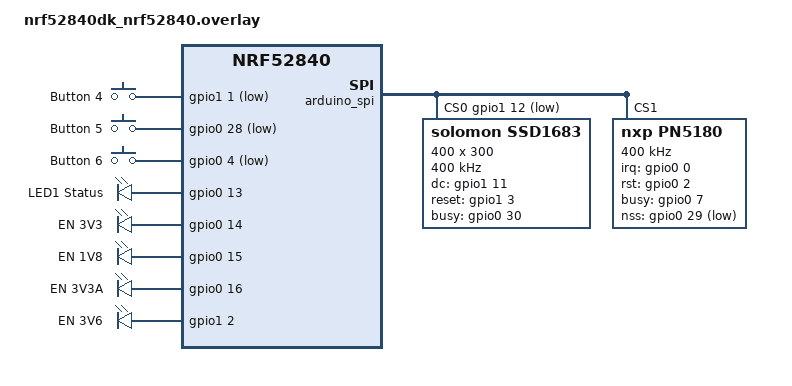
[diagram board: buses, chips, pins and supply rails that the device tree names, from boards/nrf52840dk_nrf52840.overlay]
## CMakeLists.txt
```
# SPDX-License-Identifier: Apache-2.0

cmake_minimum_required(VERSION 3.20.0)

# Add the PN5180 driver module before finding Zephyr
list(APPEND EXTRA_ZEPHYR_MODULES ${CMAKE_CURRENT_SOURCE_DIR}/pn5180)

# Add the SSD1683 e-paper display driver module
list(APPEND EXTRA_ZEPHYR_MODULES ${CMAKE_CURRENT_SOURCE_DIR}/ssd1683)

find_package(Zephyr REQUIRED HINTS $ENV{ZEPHYR_BASE})
project(demo)

# Add all the C files you want built for the app here.
# Keep source files in src/ and list them below.
target_sources(app PRIVATE
    src/main.c
    src/buttons.c
    src/buttons.h
    src/leds.c
    src/leds.h
    src/power_ctrl.c
    src/power_ctrl.h
    assets/fonts/roboto_20.c
    assets/fonts/roboto_28.c
    assets/fonts/roboto_bold_42.c
    assets/fonts/roboto_semibold_25.c
)
```

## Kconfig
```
# Copyright (c) 2023 Nordic Semiconductor ASA
# SPDX-License-Identifier: Apache-2.0

source "Kconfig.zephyr"

mainmenu "LVGL Sample"

config RESET_COUNTER_SW0
	bool "Reset counter when sw0 is pressed"
	depends on $(dt_alias_enabled,sw0)
	select GPIO
	default y
```

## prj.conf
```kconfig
# Basic Configuration
CONFIG_MAIN_STACK_SIZE=4096

# SPI Configuration
CONFIG_SPI=y

# GPIO Configuration
CONFIG_GPIO=y

# Logging
CONFIG_LOG=y
CONFIG_SHELL=n
CONFIG_LOG_DEFAULT_LEVEL=3

# Enable button for testing
CONFIG_RESET_COUNTER_SW0=y
CONFIG_GPIO=y

CONFIG_SPI=y
CONFIG_SPI_ASYNC=y

CONFIG_SPI_SLAVE=y

# PN5180 NFC Driver Configuration
CONFIG_PN5180=y
CONFIG_PN5180_LOG_LEVEL=3
CONFIG_PN5180_INIT_PRIORITY=80

# Threading support for NFC
CONFIG_MULTITHREADING=y


# Stack Sizes (increased for stability)
CONFIG_MAIN_STACK_SIZE=32768
CONFIG_SYSTEM_WORKQUEUE_STACK_SIZE=32768

# System
CONFIG_REBOOT=y
CONFIG_SPI=y

# GPIO
CONFIG_GPIO=y

# NFC PN5180
CONFIG_PN5180=y
# CONFIG_PN5180_LOG_LEVEL=4
# CONFIG_PN5180_INIT_PRIORITY=50

# Display - SSD1683 E-Paper
CONFIG_DISPLAY=y
CONFIG_SSD1683=y
CONFIG_SSD1683_LOG_LEVEL=4
# CONFIG_SSD1683_INIT_PRIORITY=90

# LVGL Graphics Library
CONFIG_LVGL=y
CONFIG_LV_Z_MEM_POOL_SIZE=32768

# LVGL Widgets
CONFIG_LV_USE_LABEL=y
CONFIG_LV_LABEL_TEXT_SELECTION=y
CONFIG_LV_LABEL_LONG_TXT_HINT=y
CONFIG_LV_USE_LINE=y

# RTOS
CONFIG_MULTITHREADING=y
CONFIG_THREAD_STACK_INFO=y
CONFIG_INIT_STACKS=y
CONFIG_STACK_CANARIES=y

# Memory Protection
CONFIG_MPU=y
CONFIG_ARM_MPU=y
CONFIG_MPU_STACK_GUARD=y
CONFIG_MPU_ALLOW_FLASH_WRITE=y

# Memory Management
CONFIG_HEAP_MEM_POOL_SIZE=8192
```

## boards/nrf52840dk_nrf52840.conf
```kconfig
# Copyright (c) 2024
# SPDX-License-Identifier: Apache-2.0

# Enable SPI driver
CONFIG_SPI=y

# Enable GPIO for display control pins
CONFIG_GPIO=y
```

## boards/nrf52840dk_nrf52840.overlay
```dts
/* Arduino SPI configuration for EPD and NFC sharing */
&arduino_spi {
	status = "okay";
	cs-gpios = <&gpio1 12 GPIO_ACTIVE_LOW>; /* EPD CS */

	
	ssd1683: ssd1683@0 {
		compatible = "solomon,ssd1683";
		reg = <0>;
		spi-max-frequency = <400000>;
		/* Display dimensions */
		width = <400>;
		height = <300>;
		/* Control GPIOs */
		dc-gpios = <&gpio1 11 GPIO_ACTIVE_HIGH>;
		reset-gpios = <&gpio1 3 GPIO_ACTIVE_HIGH>;
		busy-gpios = <&gpio0 30 GPIO_ACTIVE_HIGH>;

	};
	
	/* PN5180 NFC device on arduino_spi */
	pn5180: pn5180@1 {
		compatible = "nxp,pn5180";
		reg = <1>;
		spi-max-frequency = <400000>;
		irq-gpios = <&gpio0 0 GPIO_ACTIVE_HIGH>;
		rst-gpios = <&gpio0 2 GPIO_ACTIVE_HIGH>;
		busy-gpios = <&gpio0 7 GPIO_ACTIVE_HIGH>;
		nss-gpios = <&gpio0 29 GPIO_ACTIVE_LOW>;
		timeout-ms = <5000>;
	};
};



// By default uart1 will occupy P1.01 and P1.02. In order to make these pins available, disable uart1
&uart1 {
	status="disabled";
};

&uart0 {
	status="disabled";
};

&spi1 {
	status="disabled";
};

&pwm0 {
	status="disabled";
};

/ {
	aliases {
		sw0 = &button0;
		sw1 = &button1;
		sw2 = &button2;
		sw3 = &button3;
		sw4 = &button4;
		sw5 = &button5;
		sw6 = &button6;
		led0 = &led1;
	};

    buttons {
        compatible = "gpio-keys";

        button4: button_4 {
            label = "Button 4";
            gpios = <&gpio1 1 (GPIO_ACTIVE_LOW | GPIO_PULL_UP)>;
        };

        button5: button_5 {
            label = "Button 5";
            gpios = <&gpio0 28 (GPIO_ACTIVE_LOW | GPIO_PULL_UP)>;
        };

        button6: button_6 {
            label = "Button 6";
            gpios = <&gpio0 4 (GPIO_ACTIVE_LOW | GPIO_PULL_UP)>;
        };
    };

	leds {
		compatible = "gpio-leds";

		led1: led_1 {
			gpios = <&gpio0 13 GPIO_ACTIVE_HIGH>;
			label = "LED1 Status";
		};
	};

	enables {
		compatible = "gpio-leds";

		en3v3: en3v3 {
			gpios = <&gpio0 14 GPIO_ACTIVE_HIGH>;
			label = "EN 3V3";
		};

		en1v8: en1v8 {
			gpios = <&gpio0 15 GPIO_ACTIVE_HIGH>;
			label = "EN 1V8";
		};

		en3v3a: en3v3a {
			gpios = <&gpio0 16 GPIO_ACTIVE_HIGH>;
			label = "EN 3V3A";
		};

		en3v6: en3v6 {
			gpios = <&gpio1 2 GPIO_ACTIVE_HIGH>;
			label = "EN 3V6";
		};
	};
};

/ {
	chosen {
		zephyr,display = &ssd1683;
	};
};
```

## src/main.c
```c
#define ENABLE_NFC

#include <lvgl.h>
#include <zephyr/drivers/display.h>
#include <zephyr/drivers/gpio.h>
#include <zephyr/drivers/spi.h>
#include <zephyr/kernel.h>
#include <zephyr/logging/log.h>
#include <zephyr/sys/printk.h>
#include <zephyr/sys/util.h>

#include "buttons.h"
#include "leds.h"
#include "power_ctrl.h"
#ifdef ENABLE_NFC
#include "pn5180.h"
#endif

/* Custom fonts */
LV_FONT_DECLARE(roboto_20);
LV_FONT_DECLARE(roboto_semibold_25);
LV_FONT_DECLARE(roboto_28);
LV_FONT_DECLARE(roboto_bold_42);

LOG_MODULE_REGISTER(main, LOG_LEVEL_INF);

#ifdef ENABLE_NFC
/* Thread stack sizes */
#define NFC_THREAD_STACK_SIZE 2048

/* Message queue sizes */
#define NFC_QUEUE_SIZE 10
#endif

/* UI Configuration */
#define UI_NUM_BUTTONS 6
#define UI_CIRCLE_SIZE 32
#define UI_CIRCLE_SPACING 20
#define UI_CIRCLE_Y 70
#define UI_INACTIVITY_TIMEOUT_MS (0.5 * 60 * 1000) // 3 minutes

/* System states */
enum system_state { SYSTEM_IDLE, SYSTEM_NFC_SCANNING };

#define STATUS_LED_ID 0

#ifdef ENABLE_NFC
/* Message structures */
struct nfc_event {
  enum { NFC_EVENT_TAG_DETECTED, NFC_EVENT_NO_TAG, NFC_EVENT_ERROR } type;
  uint8_t uid[8];
  uint32_t timestamp;
};

/* Device tree definitions */
#define PN5180_DEVICE DT_NODELABEL(pn5180)
#endif
#define DISPLAY_NODE DT_CHOSEN(zephyr_display)

/* Global variables */
#ifdef ENABLE_NFC
static const struct device *pn5180_dev = DEVICE_DT_GET(PN5180_DEVICE);
#endif
static const struct device *display_dev = DEVICE_DT_GET(DISPLAY_NODE);
#ifdef ENABLE_NFC
static uint8_t last_nfc_uid[8] = {0};
static bool nfc_tag_detected = false;
static uint32_t nfc_scan_count = 0;
static int64_t last_scan_time = 0;
#endif
static uint32_t button_press_count = 0;
static uint32_t button_press_counts[UI_NUM_BUTTONS] = {
    0}; // Per-button press counters
static bool button_states[NUM_BUTTONS] = {false};
static int64_t system_start_time;
static int current_led_id = -1;

/* LVGL UI objects */
static lv_obj_t *button_circles[UI_NUM_BUTTONS];
static lv_obj_t *nfc_container;
static lv_obj_t *nfc_uid_label;
static lv_obj_t *nfc_time_label;

/* Splash screen */
static lv_obj_t *splash_screen;
static lv_obj_t *demo_container;
static bool is_splash_active = true;
static int64_t last_activity_time = 0;

/* Threading and synchronization */
#ifdef ENABLE_NFC
K_MSGQ_DEFINE(nfc_queue, sizeof(struct nfc_event), NFC_QUEUE_SIZE, 4);
#endif
K_MUTEX_DEFINE(
    spi_mutex); // Protects SPI bus - will be used for EPD when LVGL is added
#ifdef ENABLE_NFC
K_SEM_DEFINE(nfc_scan_sem, 0, 1);
#endif

/* LED blink timer */
static void led_off_callback(struct k_timer *timer);
static K_TIMER_DEFINE(led_off_timer, led_off_callback, NULL);

/* System state management */
static enum system_state current_state = SYSTEM_IDLE;
static K_MUTEX_DEFINE(state_mutex);

#ifdef ENABLE_NFC
/* Thread data structures */
static struct k_thread nfc_thread;
K_THREAD_STACK_DEFINE(nfc_thread_stack, NFC_THREAD_STACK_SIZE);
#endif

/* Function prototypes */
static void handle_button_event(button_event_t *event);
#ifdef ENABLE_NFC
static void nfc_thread_entry(void *arg1, void *arg2, void *arg3);
#endif
static void set_system_state(enum system_state new_state);
static void ui_create_button_circles(void);
static void ui_update_button_circle(int button_id, bool filled);
static void ui_create_nfc_status(void);
static void ui_update_nfc_status(void);
static void ui_create_splash_screen(void);
static void ui_show_demo(void);
static void ui_show_splash(void);

int main(void) {
  int ret;

  LOG_INF("Starting NFC + Button + LED + LVGL Demo");

  system_start_time = k_uptime_get();

  // Initialize buttons
  ret = buttons_init();
  if (ret < 0) {
    LOG_ERR("Button initialization failed: %d", ret);
    return ret;
  }

  // Initialize LEDs
  ret = leds_init();
  if (ret < 0) {
    LOG_ERR("LED initialization failed: %d", ret);
    return ret;
  }

  // Initialize power enable GPIOs and enable rails by default
  ret = power_ctrl_init();
  if (ret < 0) {
    LOG_ERR("Power control init failed: %d", ret);
    return ret;
  }

  power_ctrl_set(POWER_EN_3V3, true);
  power_ctrl_set(POWER_EN_1V8, true);
  power_ctrl_set(POWER_EN_3V3A, true);
  power_ctrl_set(POWER_EN_3V6, true);

  // Initialize Display
  if (!device_is_ready(display_dev)) {
    LOG_ERR("Display device not ready");
    return -ENODEV;
  }
  LOG_INF("Display device ready");

  // Set up screen with white background
  lv_obj_t *scr = lv_scr_act();
  lv_obj_set_style_bg_color(scr, lv_color_white(), LV_PART_MAIN);
  lv_obj_set_style_bg_opa(scr, LV_OPA_COVER, LV_PART_MAIN);

  // Create demo container (holds all demo UI, hidden initially)
  demo_container = lv_obj_create(scr);
  lv_obj_set_size(demo_container, 400, 300);
  lv_obj_set_pos(demo_container, 0, 0);
  lv_obj_set_style_bg_opa(demo_container, LV_OPA_TRANSP, LV_PART_MAIN);
  lv_obj_set_style_border_width(demo_container, 0, LV_PART_MAIN);
  lv_obj_set_style_pad_all(demo_container, 0, LV_PART_MAIN);
  lv_obj_clear_flag(demo_container, LV_OBJ_FLAG_SCROLLABLE);
  lv_obj_add_flag(demo_container, LV_OBJ_FLAG_HIDDEN); // Hidden initially

  // Create button circles UI (inside demo container)
  ui_create_button_circles();

  // Create horizontal divider line (inside demo container)
  static lv_point_precise_t line_points[] = {{20, 0}, {380, 0}};
  lv_obj_t *divider = lv_line_create(demo_container);
  lv_line_set_points(divider, line_points, 2);
  lv_obj_set_style_line_color(divider, lv_color_black(), LV_PART_MAIN);
  lv_obj_set_style_line_width(divider, 2, LV_PART_MAIN);
  lv_obj_set_pos(divider, 0, 115);

  // Create NFC status box (inside demo container)
  ui_create_nfc_status();

  // Create splash screen (visible initially)
  ui_create_splash_screen();

  // Force initial display refresh
  lv_task_handler();
  LOG_INF("LVGL UI initialized - splash screen active");

#ifdef ENABLE_NFC
  // Initialize NFC
  if (!device_is_ready(pn5180_dev)) {
    LOG_ERR("PN5180 device not ready");
    return -ENODEV;
  }

  ret = pn5180_init(pn5180_dev);
  if (ret < 0) {
    LOG_ERR("PN5180 init failed: %d", ret);
    return ret;
  }

  ret = pn5180_configure(pn5180_dev, PN5180_PROTOCOL_ISO15693);
  if (ret < 0) {
    LOG_ERR("PN5180 configure failed: %d", ret);
    return ret;
  }

  LOG_INF("PN5180 NFC initialized successfully");

  // Create NFC scanning thread
  k_thread_create(&nfc_thread, nfc_thread_stack,
                  K_THREAD_STACK_SIZEOF(nfc_thread_stack), nfc_thread_entry,
                  NULL, NULL, NULL, K_PRIO_COOP(7), 0, K_NO_WAIT);
  k_thread_name_set(&nfc_thread, "nfc_scanner");

  LOG_INF("System ready - NFC, Buttons, LEDs, Display active");
#else
  LOG_INF("System ready - Buttons, LEDs, Display active (NFC disabled)");
#endif

  // Main loop - handles button events and LVGL
  while (1) {
    button_event_t event;

    if (buttons_get_event(&event, K_MSEC(10))) {
      handle_button_event(&event);
    }

    // Only process LVGL when NFC is not using SPI bus
    if (current_state != SYSTEM_NFC_SCANNING) {
      lv_task_handler();
    }

    // Check for inactivity timeout - return to splash screen
    if (!is_splash_active && last_activity_time > 0) {
      int64_t idle_time = k_uptime_get() - last_activity_time;
      if (idle_time > UI_INACTIVITY_TIMEOUT_MS) {
        ui_show_splash();
      }
    }

    k_msleep(10);
  }

  return 0;
}

/* Handle button events */
static void handle_button_event(button_event_t *event) {
  if (event->type == BUTTON_EVENT_PRESS) {
    // IMMEDIATE: Turn on LED first for responsive feedback
    current_led_id = STATUS_LED_ID;
    led_set(STATUS_LED_ID, true);
    k_timer_start(&led_off_timer, K_MSEC(500), K_NO_WAIT);

    // If splash screen is active, switch to demo and return
    if (is_splash_active) {
      ui_show_demo();
      return;
    }

    // Update activity time for inactivity timeout
    last_activity_time = k_uptime_get();

    button_press_count++;

    // Increment per-button counter for buttons 0-5
    if (event->button_id < UI_NUM_BUTTONS) {
      button_press_counts[event->button_id]++;
    }

    // Toggle button state on press
    button_states[event->button_id] = !button_states[event->button_id];

    LOG_INF("\nButton %d pressed (total: %d, state: %s)", event->button_id,
            button_press_count, button_states[event->button_id] ? "ON" : "OFF");

    // Special handling for button 0 (NFC scan trigger)
    if (event->button_id == 0) {
#ifdef ENABLE_NFC
      LOG_INF("Button 0 pressed - triggering NFC scan");
      if (device_is_ready(pn5180_dev)) {
        k_sem_give(&nfc_scan_sem);
      }
#endif
    }

    // Batch UI updates into single refresh (this can be slow on e-paper)
    lv_disp_t *disp = lv_disp_get_default();
    lv_disp_enable_invalidation(disp, false);

    // Update circle on display for buttons 0-5
    if (event->button_id < UI_NUM_BUTTONS) {
      ui_update_button_circle(event->button_id,
                              button_states[event->button_id]);
    }

    // Refresh NFC status (updates elapsed time)
    ui_update_nfc_status();

    // Re-enable and force single refresh
    lv_disp_enable_invalidation(disp, true);
    lv_obj_invalidate(lv_scr_act());
    lv_refr_now(disp);

  } else if (event->type == BUTTON_EVENT_RELEASE) {
    LOG_INF("Button %d released", event->button_id);
  }
}

#ifdef ENABLE_NFC
/* NFC scanning thread */
static void nfc_thread_entry(void *arg1, void *arg2, void *arg3) {
  uint8_t uid[8] = {0};
  int ret;

  LOG_INF("NFC thread started");

  while (1) {
    // Wait for NFC scan trigger
    k_sem_take(&nfc_scan_sem, K_FOREVER);

    LOG_INF("NFC scan triggered");
    set_system_state(SYSTEM_NFC_SCANNING);
    nfc_scan_count++;
    last_scan_time = k_uptime_get();

    // Lock SPI bus for NFC operation
    k_mutex_lock(&spi_mutex, K_FOREVER);
    ret = pn5180_get_inventory(pn5180_dev, uid, sizeof(uid));
    k_mutex_unlock(&spi_mutex);

    // Process results
    if (ret == 0) {
      LOG_INF("*** TAG DETECTED ***");
      LOG_INF("UID: %02X %02X %02X %02X %02X %02X %02X %02X", uid[0], uid[1],
              uid[2], uid[3], uid[4], uid[5], uid[6], uid[7]);

      memcpy(last_nfc_uid, uid, sizeof(uid));
      nfc_tag_detected = true;

    } else if (ret == PN5180_ERR_TIMEOUT) {
      LOG_INF("No NFC tag detected (timeout)");
      nfc_tag_detected = false;
      memset(last_nfc_uid, 0, sizeof(last_nfc_uid));

    } else {
      LOG_ERR("NFC scan failed with error: %d", ret);
    }

    // Update NFC status on display
    ui_update_nfc_status();

    set_system_state(SYSTEM_IDLE);
    LOG_INF("NFC scan complete");
  }
}
#endif

/* Set system state with logging */
static void set_system_state(enum system_state new_state) {
  k_mutex_lock(&state_mutex, K_FOREVER);

  const char *state_names[] = {"IDLE", "NFC_SCANNING"};

  if (current_state != new_state) {
    LOG_INF("System state: %s -> %s", state_names[current_state],
            state_names[new_state]);
    current_state = new_state;
  }

  k_mutex_unlock(&state_mutex);
}

/* LED off callback */
static void led_off_callback(struct k_timer *timer) {
  if (current_led_id >= 0 && current_led_id < NUM_LEDS) {
    led_set(current_led_id, false);
    LOG_INF("LED %d turned off after blink", current_led_id);
    current_led_id = -1;
  }
}

/* Create button circle indicators */
static void ui_create_button_circles(void) {
  // Calculate starting X position to center the circles
  // Total width = (circles * size) + (gaps * spacing)
  int total_width = (UI_NUM_BUTTONS * UI_CIRCLE_SIZE) +
                    ((UI_NUM_BUTTONS - 1) * UI_CIRCLE_SPACING);
  int start_x = (400 - total_width) / 2; // Display is 400px wide

  for (int i = 0; i < UI_NUM_BUTTONS; i++) {
    // Create circle object
    button_circles[i] = lv_obj_create(demo_container);
    lv_obj_set_size(button_circles[i], UI_CIRCLE_SIZE, UI_CIRCLE_SIZE);

    // Position the circle
    int x = start_x + (i * (UI_CIRCLE_SIZE + UI_CIRCLE_SPACING));
    lv_obj_set_pos(button_circles[i], x, UI_CIRCLE_Y);

    // Style: circular shape with black border, white fill (unfilled state)
    lv_obj_set_style_radius(button_circles[i], LV_RADIUS_CIRCLE, LV_PART_MAIN);
    lv_obj_set_style_bg_color(button_circles[i], lv_color_white(),
                              LV_PART_MAIN);
    lv_obj_set_style_bg_opa(button_circles[i], LV_OPA_COVER, LV_PART_MAIN);
    lv_obj_set_style_border_color(button_circles[i], lv_color_black(),
                                  LV_PART_MAIN);
    lv_obj_set_style_border_width(button_circles[i], 2, LV_PART_MAIN);

    // Remove default padding and scrollbar
    lv_obj_set_style_pad_all(button_circles[i], 0, LV_PART_MAIN);
    lv_obj_clear_flag(button_circles[i], LV_OBJ_FLAG_SCROLLABLE);
  }

  LOG_INF("Created %d button circles", UI_NUM_BUTTONS);
}

/* Update button circle fill state */
static void ui_update_button_circle(int button_id, bool filled) {
  if (button_id < 0 || button_id >= UI_NUM_BUTTONS) {
    return;
  }

  if (filled) {
    // Filled state: black background
    lv_obj_set_style_bg_color(button_circles[button_id], lv_color_black(),
                              LV_PART_MAIN);
  } else {
    // Unfilled state: white background
    lv_obj_set_style_bg_color(button_circles[button_id], lv_color_white(),
                              LV_PART_MAIN);
  }

  LOG_INF("Circle %d updated: %s", button_id, filled ? "filled" : "unfilled");
}

/* Create NFC status display box */
static void ui_create_nfc_status(void) {
  // Create container with black background
  nfc_container = lv_obj_create(demo_container);
  lv_obj_set_size(nfc_container, 380, 90);
  lv_obj_align(nfc_container, LV_ALIGN_CENTER, 0, 55);

  // Style: black background, no border
  lv_obj_set_style_bg_color(nfc_container, lv_color_black(), LV_PART_MAIN);
  lv_obj_set_style_bg_opa(nfc_container, LV_OPA_COVER, LV_PART_MAIN);
  lv_obj_set_style_border_width(nfc_container, 0, LV_PART_MAIN);
  lv_obj_set_style_radius(nfc_container, 4, LV_PART_MAIN);
  lv_obj_set_style_pad_all(nfc_container, 10, LV_PART_MAIN);
  lv_obj_clear_flag(nfc_container, LV_OBJ_FLAG_SCROLLABLE);

  // UID label - Roboto 28, center-middle initially (moves to top after scan)
  nfc_uid_label = lv_label_create(nfc_container);
#ifdef ENABLE_NFC
  lv_label_set_text(nfc_uid_label, "Press B0 to scan");
  lv_obj_align(nfc_uid_label, LV_ALIGN_CENTER, 0, 0);
  lv_obj_set_style_text_font(nfc_uid_label, &roboto_28, LV_PART_MAIN);
#else
  lv_label_set_text(nfc_uid_label, ""); // Hidden when NFC disabled
#endif
  lv_obj_set_style_text_color(nfc_uid_label, lv_color_white(), LV_PART_MAIN);

  // Time since scan label / Button counts label
  nfc_time_label = lv_label_create(nfc_container);
#ifdef ENABLE_NFC
  lv_label_set_text(nfc_time_label, "");
  lv_obj_align(nfc_time_label, LV_ALIGN_TOP_MID, 0, 35);
  lv_obj_set_style_text_font(nfc_time_label, &roboto_28, LV_PART_MAIN);
#else
  lv_label_set_text(nfc_time_label, "B0:0  B1:0  B2:0  B3:0  B4:0  B5:0");
  lv_obj_align(nfc_time_label, LV_ALIGN_CENTER, 0, 0);
  lv_obj_set_style_text_font(nfc_time_label, &roboto_semibold_25, LV_PART_MAIN);
#endif
  lv_obj_set_style_text_color(nfc_time_label, lv_color_white(), LV_PART_MAIN);

  LOG_INF("NFC status box created");
}

/* Update NFC status display with current data */
static void ui_update_nfc_status(void) {
  static char uid_buf[48];
  static char time_buf[64];

#ifdef ENABLE_NFC
  // Update UID label
  if (nfc_tag_detected) {
    snprintf(uid_buf, sizeof(uid_buf), "UID: %02X%02X%02X%02X%02X%02X%02X%02X",
             last_nfc_uid[0], last_nfc_uid[1], last_nfc_uid[2], last_nfc_uid[3],
             last_nfc_uid[4], last_nfc_uid[5], last_nfc_uid[6],
             last_nfc_uid[7]);
    // Move to top after scan
    lv_obj_align(nfc_uid_label, LV_ALIGN_TOP_MID, 0, 0);
  } else if (nfc_scan_count > 0) {
    // Scan happened but no tag found
    snprintf(uid_buf, sizeof(uid_buf), "No tag found");
    // Move to top after scan
    lv_obj_align(nfc_uid_label, LV_ALIGN_TOP_MID, 0, 0);
  } else {
    // Never scanned yet - keep centered
    snprintf(uid_buf, sizeof(uid_buf), "Press B0 to scan");
    lv_obj_align(nfc_uid_label, LV_ALIGN_CENTER, 0, 0);
  }
  lv_label_set_text(nfc_uid_label, uid_buf);

  // Update time label
  if (last_scan_time > 0) {
    int64_t elapsed_ms = k_uptime_get() - last_scan_time;
    int seconds = (int)(elapsed_ms / 1000);

    if (seconds < 60) {
      snprintf(time_buf, sizeof(time_buf), "Last Scanned: %ds ago", seconds);
    } else {
      int minutes = seconds / 60;
      snprintf(time_buf, sizeof(time_buf), "Last Scanned: %dm %ds ago", minutes,
               seconds % 60);
    }
  } else {
    // No scan yet - leave time label empty
    snprintf(time_buf, sizeof(time_buf), "");
  }
  lv_label_set_text(nfc_time_label, time_buf);
#else
  // NFC disabled - show button press counters only
  snprintf(
      time_buf, sizeof(time_buf), "B0:%d  B1:%d  B2:%d  B3:%d  B4:%d  B5:%d",
      button_press_counts[0], button_press_counts[1], button_press_counts[2],
      button_press_counts[3], button_press_counts[4], button_press_counts[5]);
  lv_obj_align(nfc_time_label, LV_ALIGN_CENTER, 0, 0);
  lv_label_set_text(nfc_time_label, time_buf);
#endif
}

/* Create splash screen */
static void ui_create_splash_screen(void) {
  splash_screen = lv_obj_create(lv_scr_act());
  lv_obj_set_size(splash_screen, 400, 300);
  lv_obj_set_pos(splash_screen, 0, 0);
  lv_obj_set_style_bg_color(splash_screen, lv_color_white(), LV_PART_MAIN);
  lv_obj_set_style_bg_opa(splash_screen, LV_OPA_COVER, LV_PART_MAIN);
  lv_obj_set_style_border_width(splash_screen, 0, LV_PART_MAIN);
  lv_obj_set_style_pad_all(splash_screen, 0, LV_PART_MAIN);
  lv_obj_clear_flag(splash_screen, LV_OBJ_FLAG_SCROLLABLE);

  // "FeedBack Now" - roboto_bold_42, center
  lv_obj_t *title = lv_label_create(splash_screen);
  lv_label_set_text(title, "FeedBackNow");
  lv_obj_set_style_text_font(title, &roboto_bold_42, LV_PART_MAIN);
  lv_obj_set_style_text_color(title, lv_color_black(), LV_PART_MAIN);
  lv_obj_align(title, LV_ALIGN_CENTER, 0, -40);

  // "Demo" - roboto_20, below title
  lv_obj_t *subtitle = lv_label_create(splash_screen);
  lv_label_set_text(subtitle, "Demo");
  lv_obj_set_style_text_font(subtitle, &roboto_20, LV_PART_MAIN);
  lv_obj_set_style_text_color(subtitle, lv_color_black(), LV_PART_MAIN);
  lv_obj_align(subtitle, LV_ALIGN_CENTER, 0, 10);

  // Horizontal line below subtitle
  static lv_point_precise_t splash_line[] = {{40, 0}, {360, 0}};
  lv_obj_t *line = lv_line_create(splash_screen);
  lv_line_set_points(line, splash_line, 2);
  lv_obj_set_style_line_color(line, lv_color_black(), LV_PART_MAIN);
  lv_obj_set_style_line_width(line, 2, LV_PART_MAIN);
  lv_obj_set_pos(line, 0, 180);

  // Footer - "QuireTech LLC | v1.1"
  lv_obj_t *footer = lv_label_create(splash_screen);
  lv_label_set_text(footer, "QuireTech LLC | v1.1");
  lv_obj_set_style_text_font(footer, &roboto_20, LV_PART_MAIN);
  lv_obj_set_style_text_color(footer, lv_color_black(), LV_PART_MAIN);
  lv_obj_align(footer, LV_ALIGN_BOTTOM_MID, 0, -20);

  LOG_INF("Splash screen created");
}

/* Switch from splash to demo UI */
static void ui_show_demo(void) {
  if (!is_splash_active) {
    return;
  }

  // Batch all UI changes into single refresh
  lv_disp_t *disp = lv_disp_get_default();
  lv_disp_enable_invalidation(disp, false);

  // Hide splash, show demo
  lv_obj_add_flag(splash_screen, LV_OBJ_FLAG_HIDDEN);
  lv_obj_clear_flag(demo_container, LV_OBJ_FLAG_HIDDEN);
  is_splash_active = false;
  last_activity_time = k_uptime_get();

  // Re-enable and force single refresh
  lv_disp_enable_invalidation(disp, true);
  lv_obj_invalidate(lv_scr_act());
  lv_refr_now(disp);

  LOG_INF("Switched to demo UI");
}

/* Switch from demo back to splash screen */
static void ui_show_splash(void) {
  if (is_splash_active) {
    return;
  }

  // Batch all UI changes into single refresh
  lv_disp_t *disp = lv_disp_get_default();
  lv_disp_enable_invalidation(disp, false);

  // Hide demo, show splash
  lv_obj_add_flag(demo_container, LV_OBJ_FLAG_HIDDEN);
  lv_obj_clear_flag(splash_screen, LV_OBJ_FLAG_HIDDEN);
  is_splash_active = true;
  last_activity_time = 0;

  // Re-enable and force single refresh
  lv_disp_enable_invalidation(disp, true);
  lv_obj_invalidate(lv_scr_act());
  lv_refr_now(disp);

  LOG_INF("Returned to splash screen after inactivity");
}
```

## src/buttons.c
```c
#include "buttons.h"
#include "leds.h"
#include <zephyr/device.h>
#include <zephyr/drivers/gpio.h>
#include <zephyr/kernel.h>
#include <zephyr/logging/log.h>
#include <zephyr/sys/printk.h>

LOG_MODULE_REGISTER(buttons, LOG_LEVEL_INF);

/* Pull GPIO spec from DT aliases */
#define SW0_NODE DT_ALIAS(sw0)
#define SW1_NODE DT_ALIAS(sw1)
#define SW2_NODE DT_ALIAS(sw2)
#define SW3_NODE DT_ALIAS(sw3)
#define SW4_NODE DT_ALIAS(sw4)
#define SW5_NODE DT_ALIAS(sw5)
#define SW6_NODE DT_ALIAS(sw6)

/* Debouncing configuration */
#define DEBOUNCE_DELAY_MS 20      // Wait this long before confirming press
#define MIN_PRESS_INTERVAL_MS 150 // Minimum time between valid presses
#define REED_SWITCH_BUTTON_ID 6   // Button 6 is the reed switch

/* EVENT Q */
K_MSGQ_DEFINE(button_msgq, sizeof(button_event_t), BUTTON_QUEUE_SIZE,
              BUTTON_QUEUE_ALIGNMENT);

/* Array of button GPIO specs */
const struct gpio_dt_spec buttons[NUM_BUTTONS] = {
    GPIO_DT_SPEC_GET_OR(SW0_NODE, gpios, {0}),
    GPIO_DT_SPEC_GET_OR(SW1_NODE, gpios, {0}),
    GPIO_DT_SPEC_GET_OR(SW2_NODE, gpios, {0}),
    GPIO_DT_SPEC_GET_OR(SW3_NODE, gpios, {0}),
    GPIO_DT_SPEC_GET_OR(SW4_NODE, gpios, {0}),
    GPIO_DT_SPEC_GET_OR(SW5_NODE, gpios, {0}),
    GPIO_DT_SPEC_GET_OR(SW6_NODE, gpios, {0}),
};

/* Callback storage for each button */
static struct gpio_callback button_cb_data[NUM_BUTTONS];

/* Debouncing state */
static int64_t button_last_valid_press[NUM_BUTTONS] = {0};
static volatile uint8_t pending_buttons =
    0; // Bitmask of buttons waiting for confirmation

/* Debounce work handler - runs after delay to confirm press */
static void debounce_work_handler(struct k_work *work);
static K_WORK_DELAYABLE_DEFINE(debounce_work, debounce_work_handler);

/*Button ISR*/
static void button_isr(const struct device *dev, struct gpio_callback *cb,
                       uint32_t pins);

bool buttons_get_event(button_event_t *event, k_timeout_t timeout) {
  return k_msgq_get(&button_msgq, event, timeout) == 0;
}

/* Work handler - called after debounce delay to confirm button is still pressed
 */
static void debounce_work_handler(struct k_work *work) {
  int64_t now = k_uptime_get();

  for (int i = 0; i < NUM_BUTTONS; i++) {
    if (pending_buttons & BIT(i)) {
      // Clear pending flag
      pending_buttons &= ~BIT(i);

      // CHECK: Is button STILL pressed? (pin should be LOW = 0 for active-low)
      int pin_state = gpio_pin_get_dt(&buttons[i]);

      // gpio_pin_get_dt returns logical state (1 = pressed if ACTIVE_LOW in DT)
      // If your buttons don't have ACTIVE_LOW flag, change pin_state == 1 to
      // pin_state == 0
      if (pin_state == 1) { // Button is confirmed pressed
        // Check minimum interval between presses
        if (now - button_last_valid_press[i] >= MIN_PRESS_INTERVAL_MS) {
          button_last_valid_press[i] = now;

          // Send confirmed press event
          button_event_t evt = {
              .button_id = i, .type = BUTTON_EVENT_PRESS, .timestamp_ms = now};
          k_msgq_put(&button_msgq, &evt, K_NO_WAIT);
          LOG_INF("Button %d CONFIRMED (pin=%d)", i, pin_state);
        }
      } else {
        // Button was released before debounce completed - it was noise!
        LOG_INF("Button %d REJECTED as noise (pin=%d)", i, pin_state);
      }
    }
  }
}

/* Interrupt handler - just schedules debounce work */
static void button_isr(const struct device *dev, struct gpio_callback *cb,
                       uint32_t pins) {
  for (int i = 0; i < NUM_BUTTONS; i++) {
    if (pins & BIT(buttons[i].pin)) {
      // Mark button as pending confirmation
      pending_buttons |= BIT(i);
    }
  }

  // Schedule work to confirm press after debounce delay
  // If already scheduled, this extends the deadline
  k_work_reschedule(&debounce_work, K_MSEC(DEBOUNCE_DELAY_MS));
}

int buttons_init(void) {
  int ret;

  for (int i = 0; i < NUM_BUTTONS; i++) {
    if (!gpio_is_ready_dt(&buttons[i])) {
      LOG_ERR("Button %d device %s not ready", i, buttons[i].port->name);
      return -ENODEV;
    }

    ret = gpio_pin_configure_dt(&buttons[i], GPIO_INPUT | GPIO_PULL_UP);
    if (ret != 0) {
      LOG_ERR("Failed to configure button %d", i);
      return ret;
    }

    ret = gpio_pin_interrupt_configure_dt(&buttons[i], GPIO_INT_EDGE_FALLING);
    if (ret != 0) {
      LOG_ERR("Failed to set interrupt for button %d", i);
      return ret;
    }

    gpio_init_callback(&button_cb_data[i], button_isr, BIT(buttons[i].pin));
    gpio_add_callback(buttons[i].port, &button_cb_data[i]);

    LOG_INF("Initialized button %d on %s pin %d", i, buttons[i].port->name,
            buttons[i].pin);
  }

  return 0;
}
```

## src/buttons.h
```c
#ifndef BUTTONS_H
#define BUTTONS_H

#include <stdbool.h>
#include <stdint.h>
#include <zephyr/drivers/gpio.h>
#include <zephyr/kernel.h>

#define NUM_BUTTONS 7
#define BUTTON_QUEUE_SIZE 10
#define BUTTON_QUEUE_ALIGNMENT 4

typedef enum {
  BUTTON_EVENT_PRESS = 0,
  BUTTON_EVENT_RELEASE = 1
} button_event_type_t;

typedef struct {
  uint8_t button_id;
  button_event_type_t type;
  int64_t timestamp_ms;
} button_event_t;

int buttons_init(void);
bool buttons_get_event(button_event_t *event, k_timeout_t timeout);

#endif /* BUTTONS_H */
```

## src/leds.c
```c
#include "leds.h"
#include <stdbool.h>
#include <stdint.h>
#include <zephyr/device.h>
#include <zephyr/devicetree.h>
#include <zephyr/drivers/gpio.h>
#include <zephyr/kernel.h>
#include <zephyr/logging/log.h>

LOG_MODULE_REGISTER(leds, LOG_LEVEL_INF);

/* Pull GPIO spec from DT alias */
#define LED0_NODE DT_ALIAS(led0)

/* Array of LED GPIO specs */
const struct gpio_dt_spec leds[NUM_LEDS] = {
    GPIO_DT_SPEC_GET_OR(LED0_NODE, gpios, {0}),
};

int leds_init(void) {
  int ret;

  for (int i = 0; i < NUM_LEDS; i++) {
    if (!gpio_is_ready_dt(&leds[i])) {
      LOG_ERR("LED %d device %s not ready", i, leds[i].port->name);
      return -ENODEV;
    }

    ret = gpio_pin_configure_dt(&leds[i], GPIO_OUTPUT_INACTIVE);
    if (ret != 0) {
      LOG_ERR("Failed to configure LED %d", i);
      return ret;
    }

    LOG_INF("Initialized LED %d on %s pin %d", i, leds[i].port->name,
            leds[i].pin);
  }

  return 0;
}

int led_set(int led_id, bool state) {
  if (led_id >= NUM_LEDS) {
    return -EINVAL;
  }

  return gpio_pin_set_dt(&leds[led_id], state);
}

int led_toggle(int led_id) {
  if (led_id >= NUM_LEDS) {
    return -EINVAL;
  }

  return gpio_pin_toggle_dt(&leds[led_id]);
}
```

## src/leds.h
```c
#ifndef LEDS_H
#define LEDS_H

#include <stdbool.h>
#include <zephyr/drivers/gpio.h>

#define NUM_LEDS 1

// LED GPIO specs - will be populated from device tree
extern const struct gpio_dt_spec leds[NUM_LEDS];

int leds_init(void);
int led_set(int led_id, bool state);
int led_toggle(int led_id);

#endif /* LEDS_H */
```

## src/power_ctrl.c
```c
#include "power_ctrl.h"

#include <zephyr/device.h>
#include <zephyr/devicetree.h>
#include <zephyr/drivers/gpio.h>
#include <zephyr/kernel.h>
#include <zephyr/logging/log.h>
#include <zephyr/sys/util.h>

LOG_MODULE_REGISTER(power_ctrl, LOG_LEVEL_INF);

#define EN3V3_NODE DT_NODELABEL(en3v3)
#define EN1V8_NODE DT_NODELABEL(en1v8)
#define EN3V3A_NODE DT_NODELABEL(en3v3a)
#define EN3V6_NODE DT_NODELABEL(en3v6)

static const struct gpio_dt_spec power_gpios[POWER_DOMAIN_COUNT] = {
    GPIO_DT_SPEC_GET_OR(EN3V3_NODE, gpios, {0}),
    GPIO_DT_SPEC_GET_OR(EN1V8_NODE, gpios, {0}),
    GPIO_DT_SPEC_GET_OR(EN3V3A_NODE, gpios, {0}),
    GPIO_DT_SPEC_GET_OR(EN3V6_NODE, gpios, {0}),
};

int power_ctrl_init(void) {
  int ret;

  for (int i = 0; i < POWER_DOMAIN_COUNT; i++) {
    if (!gpio_is_ready_dt(&power_gpios[i])) {
      LOG_ERR("Power GPIO %d device %s not ready", i,
              power_gpios[i].port->name);
      return -ENODEV;
    }

    ret = gpio_pin_configure_dt(&power_gpios[i], GPIO_OUTPUT_INACTIVE);
    if (ret != 0) {
      LOG_ERR("Failed to configure power GPIO %d", i);
      return ret;
    }

    LOG_INF("Initialized power GPIO %d on %s pin %d", i,
            power_gpios[i].port->name, power_gpios[i].pin);
  }

  return 0;
}

int power_ctrl_set(enum power_domain domain, bool enable) {
  if (domain < 0 || domain >= POWER_DOMAIN_COUNT) {
    return -EINVAL;
  }

  return gpio_pin_set_dt(&power_gpios[domain], enable);
}

int power_ctrl_toggle(enum power_domain domain) {
  if (domain < 0 || domain >= POWER_DOMAIN_COUNT) {
    return -EINVAL;
  }

  return gpio_pin_toggle_dt(&power_gpios[domain]);
}
```
